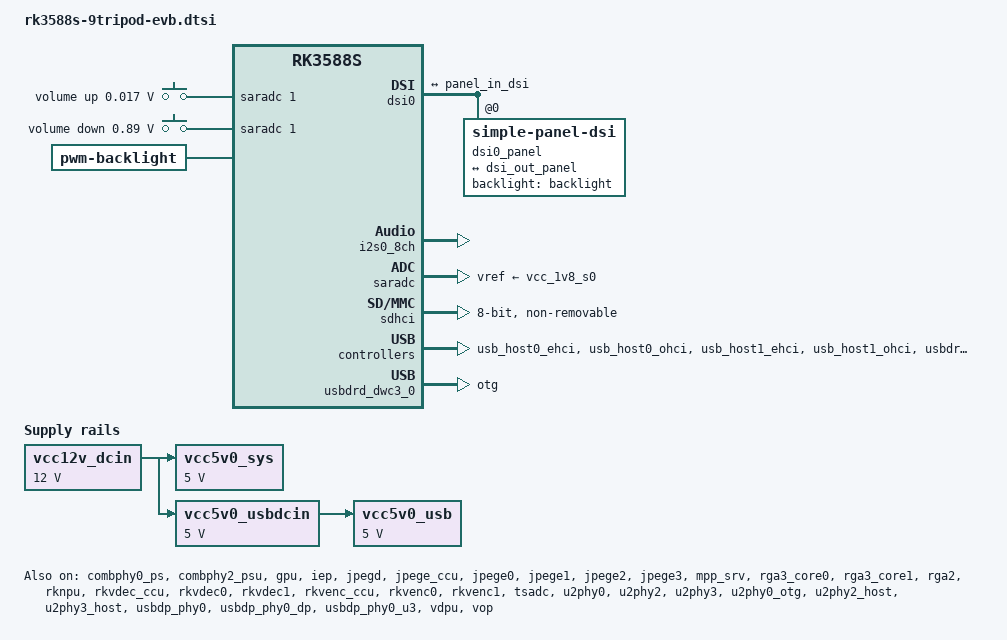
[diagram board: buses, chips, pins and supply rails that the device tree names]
// SPDX-License-Identifier: (GPL-2.0+ OR MIT)
/*
 * Copyright (c) 2021 Rockchip Electronics Co., Ltd.
 *
 */

#include <dt-bindings/gpio/gpio.h>
#include <dt-bindings/pwm/pwm.h>
#include <dt-bindings/pinctrl/rockchip.h>
#include <dt-bindings/input/rk-input.h>
#include <dt-bindings/display/drm_mipi_dsi.h>
#include <dt-bindings/display/rockchip_vop.h>
#include <dt-bindings/sensor-dev.h>

/ {
	adc_keys: adc-keys {
		compatible = "adc-keys";
		io-channels = <&saradc 1>;
		io-channel-names = "buttons";
		keyup-threshold-microvolt = <1800000>;
		poll-interval = <100>;

		vol-up-key {
			label = "volume up";
			linux,code = <KEY_VOLUMEUP>;
			press-threshold-microvolt = <17000>;
		};

		vol-down-key {
			label = "volume down";
			linux,code = <KEY_VOLUMEDOWN>;
			press-threshold-microvolt = <890000>;
		};

	};

	backlight: backlight {
		compatible = "pwm-backlight";
		brightness-levels = <
			  0  20  20  21  21  22  22  23
			 23  24  24  25  25  26  26  27
			 27  28  28  29  29  30  30  31
			 31  32  32  33  33  34  34  35
			 35  36  36  37  37  38  38  39
			 40  41  42  43  44  45  46  47
			 48  49  50  51  52  53  54  55
			 56  57  58  59  60  61  62  63
			 64  65  66  67  68  69  70  71
			 72  73  74  75  76  77  78  79
			 80  81  82  83  84  85  86  87
			 88  89  90  91  92  93  94  95
			 96  97  98  99 100 101 102 103
			104 105 106 107 108 109 110 111
			112 113 114 115 116 117 118 119
			120 121 122 123 124 125 126 127
			128 129 130 131 132 133 134 135
			136 137 138 139 140 141 142 143
			144 145 146 147 148 149 150 151
			152 153 154 155 156 157 158 159
			160 161 162 163 164 165 166 167
			168 169 170 171 172 173 174 175
			176 177 178 179 180 181 182 183
			184 185 186 187 188 189 190 191
			192 193 194 195 196 197 198 199
			200 201 202 203 204 205 206 207
			208 209 210 211 212 213 214 215
			216 217 218 219 220 221 222 223
			224 225 226 227 228 229 230 231
			232 233 234 235 236 237 238 239
			240 241 242 243 244 245 246 247
			248 249 250 251 252 253 254 255
		>;
		default-brightness-level = <200>;
	};

	hdmi0_sound: hdmi0-sound {
		status = "disabled";
		compatible = "simple-audio-card";
		simple-audio-card,format = "i2s";
		simple-audio-card,mclk-fs = <128>;
		simple-audio-card,name = "rockchip,hdmi0";

		simple-audio-card,cpu {
			sound-dai = <&i2s5_8ch>;
		};
		simple-audio-card,codec {
			sound-dai = <&hdmi0>;
		};
	};

	test-power {
		status = "okay";
	};

	vcc12v_dcin: vcc12v-dcin {
		compatible = "regulator-fixed";
		regulator-name = "vcc12v_dcin";
		regulator-always-on;
		regulator-boot-on;
		regulator-min-microvolt = <12000000>;
		regulator-max-microvolt = <12000000>;
	};

	vcc5v0_sys: vcc5v0-sys {
		compatible = "regulator-fixed";
		regulator-name = "vcc5v0_sys";
		regulator-always-on;
		regulator-boot-on;
		regulator-min-microvolt = <5000000>;
		regulator-max-microvolt = <5000000>;
		vin-supply = <&vcc12v_dcin>;
	};

	vcc5v0_usbdcin: vcc5v0-usbdcin {
		compatible = "regulator-fixed";
		regulator-name = "vcc5v0_usbdcin";
		regulator-always-on;
		regulator-boot-on;
		regulator-min-microvolt = <5000000>;
		regulator-max-microvolt = <5000000>;
		vin-supply = <&vcc12v_dcin>;
	};

	vcc5v0_usb: vcc5v0-usb {
		compatible = "regulator-fixed";
		regulator-name = "vcc5v0_usb";
		regulator-always-on;
		regulator-boot-on;
		regulator-min-microvolt = <5000000>;
		regulator-max-microvolt = <5000000>;
		vin-supply = <&vcc5v0_usbdcin>;
	};
};

&av1d_mmu {
	status = "okay";
};

&combphy0_ps {
	status = "okay";
};

&combphy2_psu {
	status = "okay";
};

&cpu_l0 {
	cpu-supply = <&vdd_cpu_lit_s0>;
	mem-supply = <&vdd_cpu_lit_mem_s0>;
};

&cpu_b0 {
	cpu-supply = <&vdd_cpu_big0_s0>;
	mem-supply = <&vdd_cpu_big0_mem_s0>;
};

&cpu_b2 {
	cpu-supply = <&vdd_cpu_big1_s0>;
	mem-supply = <&vdd_cpu_big1_mem_s0>;
};

&dsi0 {
	status = "okay";
	//rockchip,lane-rate = <600>;
	dsi0_panel: panel@0 {
		status = "okay";
		compatible = "simple-panel-dsi";
		reg = <0>;
		backlight = <&backlight>;
		//power-supply = <&vcc3v3_lcd_n>;
		//reset-gpios = <&gpio1 RK_PB0 GPIO_ACTIVE_LOW>;
		//pinctrl-names = "default";
		//pinctrl-0 = <&lcd_rst_gpio>;
		reset-delay-ms = <120>;
		enable-delay-ms = <120>;
		prepare-delay-ms = <120>;
		unprepare-delay-ms = <120>;
		disable-delay-ms = <120>;
		dsi,flags = <(MIPI_DSI_MODE_VIDEO | MIPI_DSI_MODE_VIDEO_BURST |
			MIPI_DSI_MODE_LPM | MIPI_DSI_MODE_EOT_PACKET)>;
		dsi,format = <MIPI_DSI_FMT_RGB888>;
		dsi,lanes  = <4>;

		disp_timings0: display-timings {
			native-mode = <&dsi0_timing0>;
			dsi0_timing0: timing0 {
				clock-frequency = <50000000>;
				hactive = <1024>;
				vactive = <600>;
				hfront-porch = <150>;
				hsync-len = <20>;
				hback-porch = <150>;
				vfront-porch = <8>;
				vsync-len = <3>;
				vback-porch = <24>;
				hsync-active = <1>;
				vsync-active = <1>;
				de-active = <0>;
				pixelclk-active = <1>;
			};
		};

		ports {
			#address-cells = <1>;
			#size-cells = <0>;

			port@0 {
				reg = <0>;
				panel_in_dsi: endpoint {
					remote-endpoint = <&dsi_out_panel>;
				};
			};
		};
	};

	ports {
		#address-cells = <1>;
		#size-cells = <0>;

		port@1 {
			reg = <1>;
			dsi_out_panel: endpoint {
				remote-endpoint = <&panel_in_dsi>;
			};
		};
	};

};

&gpu {
	mali-supply = <&vdd_gpu_s0>;
	mem-supply = <&vdd_gpu_mem_s0>;
	status = "okay";
};

&i2s0_8ch {
	status = "okay";
	pinctrl-0 = <&i2s0_lrck
		     &i2s0_sclk
		     &i2s0_sdi0
		     &i2s0_sdo0>;
};

&iep {
	status = "okay";
};

&iep_mmu {
	status = "okay";
};

&jpegd {
	status = "okay";
};

&jpegd_mmu {
	status = "okay";
};

&jpege_ccu {
	status = "okay";
};

&jpege0 {
	status = "okay";
};

&jpege0_mmu {
	status = "okay";
};

&jpege1 {
	status = "okay";
};

&jpege1_mmu {
	status = "okay";
};

&jpege2 {
	status = "okay";
};

&jpege2_mmu {
	status = "okay";
};

&jpege3 {
	status = "okay";
};

&jpege3_mmu {
	status = "okay";
};

&mpp_srv {
	status = "okay";
};

&rga3_core0 {
	status = "okay";
};

&rga3_0_mmu {
	status = "okay";
};

&rga3_core1 {
	status = "okay";
};

&rga3_1_mmu {
	status = "okay";
};

&rga2 {
	status = "okay";
};

&rknpu {
	rknpu-supply = <&vdd_npu_s0>;
	mem-supply = <&vdd_npu_mem_s0>;
	status = "okay";
};

&rknpu_mmu {
	status = "okay";
};

&rkvdec_ccu {
	status = "okay";
};

&rkvdec0 {
	status = "okay";
};

&rkvdec0_mmu {
	status = "okay";
};

&rkvdec1 {
	status = "okay";
};

&rkvdec1_mmu {
	status = "okay";
};

&rkvenc_ccu {
	status = "okay";
};

&rkvenc0 {
	status = "okay";
};

&rkvenc0_mmu {
	status = "okay";
};

&rkvenc1 {
	status = "okay";
};

&rkvenc1_mmu {
	status = "okay";
};

&rockchip_suspend {
	status = "okay";
	rockchip,sleep-debug-en = <1>;
};

&saradc {
	status = "okay";
	vref-supply = <&vcc_1v8_s0>;
};

&sdhci {
	bus-width = <8>;
	no-sdio;
	no-sd;
	non-removable;
	max-frequency = <200000000>;
	mmc-hs400-1_8v;
	mmc-hs400-enhanced-strobe;
	status = "okay";
};

&sdmmc {
	max-frequency = <150000000>;
	no-sdio;
	no-mmc;
	bus-width = <4>;
	cap-mmc-highspeed;
	cap-sd-highspeed;
	disable-wp;
	sd-uhs-sdr104;
	//vmmc-supply = <&vcc_3v3_sd_s0>;
	vqmmc-supply = <&vccio_sd_s0>;
	status = "disabled";
};

&tsadc {
	status = "okay";
};

&u2phy0 {
	status = "okay";
};

&u2phy2 {
	status = "okay";
};

&u2phy3 {
	status = "okay";
};

&u2phy0_otg {
	status = "okay";
};

&u2phy2_host {
	status = "okay";
};

&u2phy3_host {
	status = "okay";
};

&usb_host0_ehci {
	status = "okay";
};

&usb_host0_ohci {
	status = "okay";
};

&usb_host1_ehci {
	status = "okay";
};

&usb_host1_ohci {
	status = "okay";
};

&usbdp_phy0 {
	status = "okay";
};

&usbdp_phy0_dp {
	status = "okay";
};

&usbdp_phy0_u3 {
	status = "okay";
};

&usbdrd3_0 {
	status = "okay";
};

&usbdrd_dwc3_0 {
	dr_mode = "otg";
	status = "okay";
};

&usbhost3_0 {
	status = "okay";
};

&usbhost_dwc3_0 {
	status = "okay";
};

&vdpu {
	status = "okay";
};

&vdpu_mmu {
	status = "okay";
};

&vop {
	status = "okay";
};

&vop_mmu {
	status = "okay";
};

/* vp0 & vp1 splice for 8K output */
&vp0 {
	rockchip,plane-mask = <(1 << ROCKCHIP_VOP2_CLUSTER0 | 1 << ROCKCHIP_VOP2_ESMART0)>;
	rockchip,primary-plane = <ROCKCHIP_VOP2_ESMART0>;
};

&vp1 {
	rockchip,plane-mask = <(1 << ROCKCHIP_VOP2_CLUSTER1 | 1 << ROCKCHIP_VOP2_ESMART1)>;
	rockchip,primary-plane = <ROCKCHIP_VOP2_ESMART1>;
};

&vp2 {
	rockchip,plane-mask = <(1 << ROCKCHIP_VOP2_CLUSTER2 | 1 << ROCKCHIP_VOP2_ESMART2)>;
	rockchip,primary-plane = <ROCKCHIP_VOP2_ESMART2>;
};

&vp3 {
	rockchip,plane-mask = <(1 << ROCKCHIP_VOP2_CLUSTER3 | 1 << ROCKCHIP_VOP2_ESMART3)>;
	rockchip,primary-plane = <ROCKCHIP_VOP2_ESMART3>;
};
